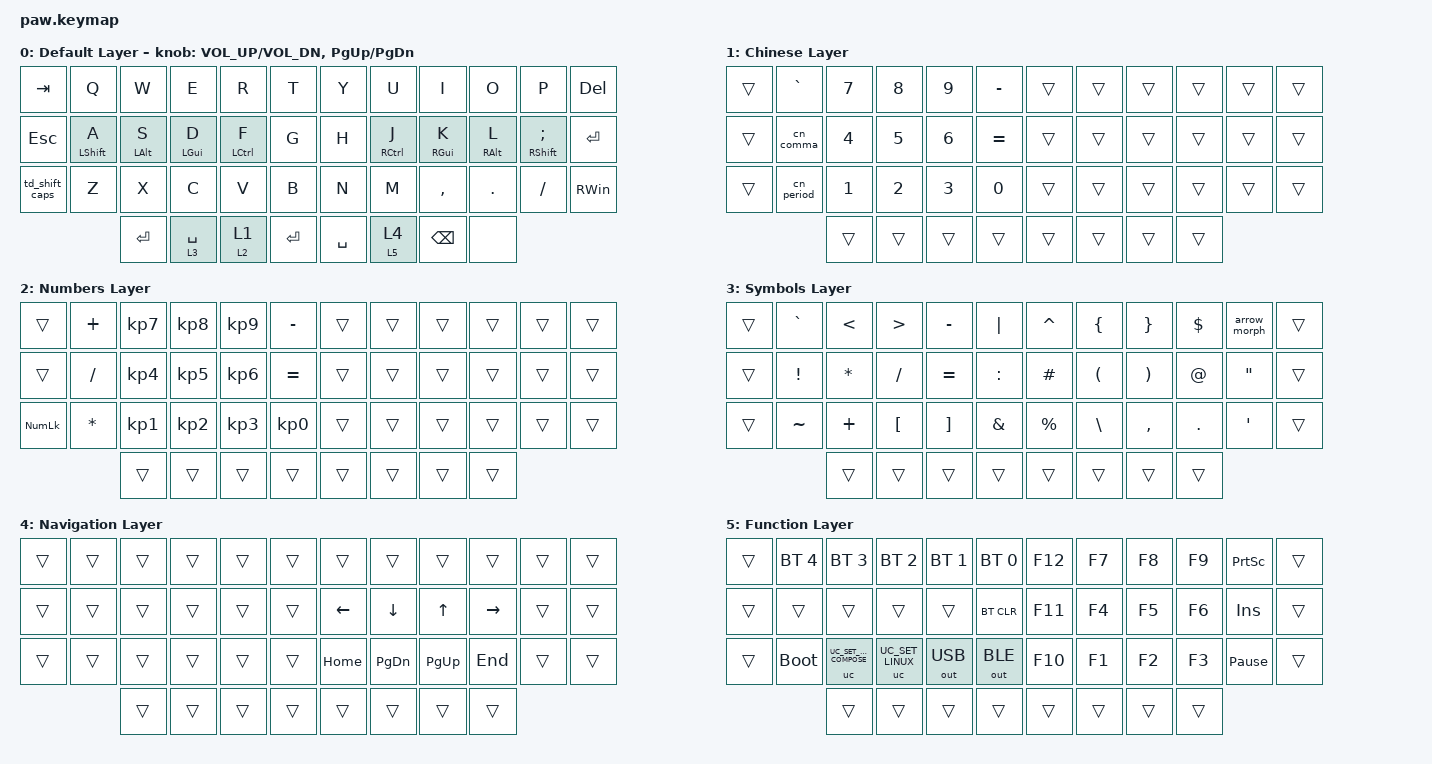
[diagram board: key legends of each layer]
/*
 * Copyright (c) 2020 The ZMK Contributors
 *
 * SPDX-License-Identifier: MIT
 */

#include <behaviors/unicode.dtsi>
#include <behaviors.dtsi>
#include <dt-bindings/zmk/bt.h>
#include <dt-bindings/zmk/keys.h>
#include <dt-bindings/zmk/outputs.h>

#define KEYS_L 0 1 2 3 4 5   12 13 14 15 16 17   24 25 26 27 28 29
#define KEYS_R 6 7 8 9 10 11 18 19 20 21 22 23   30 31 32 33 34 35
#define THUMBS 36 37 38 39 40 41 42 43

&caps_word { continue-list = <UNDERSCORE MINUS BACKSPACE DELETE>; };

&uc { default-mode = <UC_MODE_LINUX>; };

/ {
    behaviors {
        hml: home_row_mod_left {
            compatible = "zmk,behavior-hold-tap";
            #binding-cells = <2>;
            flavor = "balanced";
            require-prior-idle-ms = <150>;
            tapping-term-ms = <280>;
            quick-tap-ms = <175>;
            bindings = <&kp>, <&kp>;

            hold-trigger-key-positions = < KEYS_R THUMBS>; // List of keys on the right side of the keyboard
            hold-trigger-on-release;
            retro-tap;
        };

        hmr: home_row_mod_right {
            compatible = "zmk,behavior-hold-tap";
            #binding-cells = <2>;
            flavor = "balanced";
            require-prior-idle-ms = <150>;
            tapping-term-ms = <280>;
            quick-tap-ms = <175>;
            bindings = <&kp>, <&kp>;

            hold-trigger-key-positions = < KEYS_L THUMBS>; // List of keys on the left side of the keyboard
            hold-trigger-on-release;
            retro-tap;
        };

        td_shift_caps: td_shift_capsword {
            compatible = "zmk,behavior-tap-dance";
            label = "TD_SHIFT_CAPSWORD";
            #binding-cells = <0>;
            tapping-term-ms = <200>;
            bindings = <&kp LSHIFT>, <&caps_word>;
        };

        mtl: momentary_toggle_layer {
            compatible = "zmk,behavior-hold-tap";
            label = "HOLD_MO_TAP_TOG";
            #binding-cells = <2>;
            flavor = "tap-preferred";
            tapping-term-ms = <200>;
            bindings = <&mo>, <&tog>;
        };

        arrow_morph: arrow_morph {
            compatible = "zmk,behavior-mod-morph";
            #binding-cells = <0>;
            bindings = <&minus_gt>, <&equal_gt>;

            mods = <(MOD_LSFT|MOD_RSFT)>;
        };
    };

    combos {
        compatible = "zmk,combos";

        combo_backspace {
            bindings = <&kp BACKSPACE>;
            key-positions = <15 16>;
        };

        combo_enter {
            bindings = <&kp ENTER>;
            key-positions = <19 20>;
        };
    };

    macros {
        cn_comma: cn_comma {
            compatible = "zmk,behavior-macro";
            #binding-cells = <0>;
            bindings = <&uc 0xff0c 0>;
        };

        cn_period: cn_period {
            compatible = "zmk,behavior-macro";
            #binding-cells = <0>;
            bindings = <&uc 0x3002 0>;
        };

        minus_gt: minus_gt {
            compatible = "zmk,behavior-macro";
            #binding-cells = <0>;
            bindings = <&kp MINUS &kp GREATER_THAN>;
        };

        equal_gt: equal_gt {
            compatible = "zmk,behavior-macro";
            #binding-cells = <0>;
            bindings = <&kp EQUAL &kp GREATER_THAN>;
        };
    };

    keymap {
        compatible = "zmk,keymap";

        default_layer {
            display-name = "Default Layer";

            // -----------------------------------------------------------------------------------------
            // |  TAB |  Q  |  W  |  E  |  R  |  T  |   |  Y  |  U   |  I  |  O  |  P  | BSPC |
            // | CTRL |  A  |  S  |  D  |  F  |  G  |   |  H  |  J   |  K  |  L  |  ;  |  '   |
            // | SHFT |  Z  |  X  |  C  |  V  |  B  |   |  N  |  M   |  ,  |  .  |  /  | ESC  |
            //                    | GUI | LWR | SPC |   | ENT | RSE  | ALT |

            bindings = <
&kp TAB         &kp Q              &kp W            &kp E            &kp R         &kp T          &kp Y      &kp U         &kp I             &kp O             &kp P                       &kp DELETE
&kp ESCAPE      &hml LEFT_SHIFT A  &hml LEFT_ALT S  &hml LEFT_GUI D  &hml LCTRL F  &kp G          &kp H      &hmr RCTRL J  &hmr RIGHT_GUI K  &hmr RIGHT_ALT L  &hmr RIGHT_SHIFT SEMICOLON  &kp ENTER
&td_shift_caps  &kp Z              &kp X            &kp C            &kp V         &kp B          &kp N      &kp M         &kp COMMA         &kp PERIOD        &kp SLASH                   &kp RIGHT_WIN
                                   &kp ENTER        &lt 3 SPACE      &mtl 2 1      &kp ENTER      &kp SPACE  &mtl 5 4      &kp BACKSPACE     &none
            >;

            sensor-bindings =
                <&inc_dec_kp C_VOL_UP C_VOL_DN>,
                <&inc_dec_kp PG_UP PG_DN>;
        };

        chinese_layer {
            label = "Chinese Layer";
            bindings = <
&trans  &kp GRAVE   &kp NUMBER_7  &kp NUMBER_8  &kp NUMBER_9  &kp MINUS         &trans  &trans  &trans  &trans  &trans  &trans
&trans  &cn_comma   &kp NUMBER_4  &kp NUMBER_5  &kp NUMBER_6  &kp EQUAL         &trans  &trans  &trans  &trans  &trans  &trans
&trans  &cn_period  &kp NUMBER_1  &kp NUMBER_2  &kp NUMBER_3  &kp NUMBER_0      &trans  &trans  &trans  &trans  &trans  &trans
                    &trans        &trans        &trans        &trans            &trans  &trans  &trans  &trans
            >;
        };

        number_layer {
            bindings = <
&trans          &kp PLUS      &kp KP_NUMBER_7  &kp KP_NUMBER_8  &kp KP_NUMBER_9  &kp MINUS            &trans  &trans  &trans  &trans  &trans  &trans
&trans          &kp SLASH     &kp KP_NUMBER_4  &kp KP_NUMBER_5  &kp KP_NUMBER_6  &kp EQUAL            &trans  &trans  &trans  &trans  &trans  &trans
&kp KP_NUMLOCK  &kp ASTERISK  &kp KP_NUMBER_1  &kp KP_NUMBER_2  &kp KP_NUMBER_3  &kp KP_NUMBER_0      &trans  &trans  &trans  &trans  &trans  &trans
                              &trans           &trans           &trans           &trans               &trans  &trans  &trans  &trans
            >;

            label = "Numbers Layer";
        };

        symbol_layer {
            bindings = <
&trans  &kp GRAVE        &kp LESS_THAN  &kp GREATER_THAN  &kp MINUS          &kp PIPE           &kp CARET    &kp LEFT_BRACE        &kp RIGHT_BRACE        &kp DOLLAR   &arrow_morph       &trans
&trans  &kp EXCLAMATION  &kp ASTERISK   &kp SLASH         &kp EQUAL          &kp COLON          &kp HASH     &kp LEFT_PARENTHESIS  &kp RIGHT_PARENTHESIS  &kp AT_SIGN  &kp DOUBLE_QUOTES  &trans
&trans  &kp TILDE        &kp PLUS       &kp LEFT_BRACKET  &kp RIGHT_BRACKET  &kp AMPERSAND      &kp PERCENT  &kp BACKSLASH         &kp COMMA              &kp PERIOD   &kp SQT            &trans
                         &trans         &trans            &trans             &trans             &trans       &trans                &trans                 &trans
            >;

            label = "Symbols Layer";
        };

        navigation_layer {
            bindings = <
&trans  &trans  &trans  &trans  &trans  &trans      &trans    &trans         &trans       &trans     &trans  &trans
&trans  &trans  &trans  &trans  &trans  &trans      &kp LEFT  &kp DOWN       &kp UP       &kp RIGHT  &trans  &trans
&trans  &trans  &trans  &trans  &trans  &trans      &kp HOME  &kp PAGE_DOWN  &kp PAGE_UP  &kp END    &trans  &trans
                &trans  &trans  &trans  &trans      &trans    &trans         &trans       &trans
            >;

            label = "Navigation Layer";
        };

        function_layer {
            bindings = <
&trans  &bt BT_SEL 4  &bt BT_SEL 3            &bt BT_SEL 2      &bt BT_SEL 1  &bt BT_SEL 0      &kp F12  &kp F7  &kp F8  &kp F9  &kp PRINTSCREEN  &trans
&trans  &trans        &trans                  &trans            &trans        &bt BT_CLR        &kp F11  &kp F4  &kp F5  &kp F6  &kp INSERT       &trans
&trans  &bootloader   &uc UC_SET_WIN_COMPOSE  &uc UC_SET_LINUX  &out OUT_USB  &out OUT_BLE      &kp F10  &kp F1  &kp F2  &kp F3  &kp PAUSE_BREAK  &trans
                      &trans                  &trans            &trans        &trans            &trans   &trans  &trans  &trans
            >;

            label = "Function Layer";
        };
    };
};
